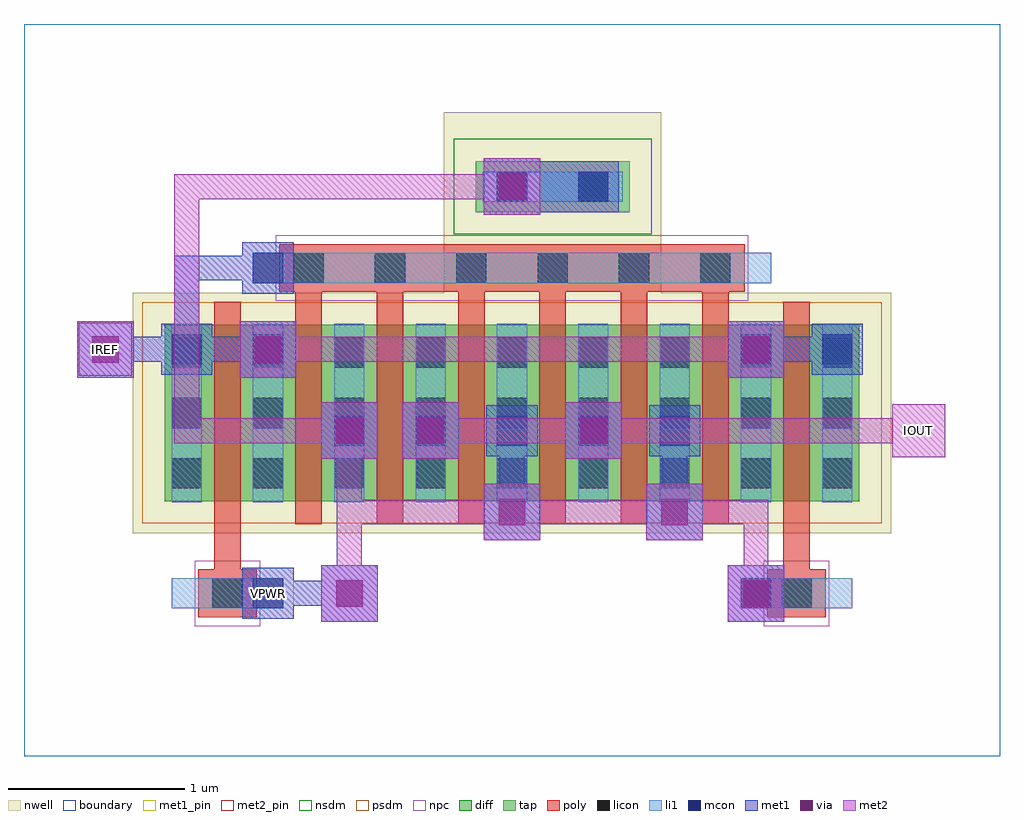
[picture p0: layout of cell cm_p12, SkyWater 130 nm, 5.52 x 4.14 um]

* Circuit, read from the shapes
.subckt cm_p12 IOUT IREF VPWR
XM1 IREF VPWR IREF VPWR sky130_fd_pr__pfet_01v8 w=1 l=0.15 m=2
XM2 VPWR IREF IREF VPWR sky130_fd_pr__pfet_01v8 w=1 l=0.15 m=2
XM3 IOUT IREF VPWR VPWR sky130_fd_pr__pfet_01v8 w=1 l=0.15 m=4
.ends

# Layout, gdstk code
import gdstk
lib = gdstk.Library(unit=1e-6, precision=1e-09)
def R(c, l, rs):  # rectangles x0, y0, x1, y1
    for r in rs: c.add(gdstk.rectangle(r[:2], r[2:], *l))
def A(c, l, x, y, w, h, nx, ny, dx, dy):  # array of equal rectangles
    R(c, l, [(x+i*dx, y+j*dy, x+i*dx+w, y+j*dy+h) for i in range(nx) for j in range(ny)])
nwell = (64, 20)
diff = (65, 20)
tap = (65, 44)
poly = (66, 20)
licon = (66, 44)
li1 = (67, 20)
mcon = (67, 44)
met1_pin = (68, 16)
met1 = (68, 20)
via = (68, 44)
met2_pin = (69, 16)
met2 = (69, 20)
nsdm = (93, 44)
psdm = (94, 20)
npc = (95, 20)
boundary = (235, 4)

cm_p12 = lib.new_cell('cm_p12')
R(cm_p12, nwell, [(0.615,1.26,4.905,2.62), (2.375,2.62,3.605,3.64)])
R(cm_p12, diff, [(0.795,1.44,4.725,2.44)])
R(cm_p12, tap, [(2.555,3.075,3.425,3.365)])
A(cm_p12, poly, 1.535, 1.31, 0.15, 1.45, 6, 1, 0.46, 0)
R(cm_p12, poly, [(0.985,0.785,1.315,1.055), (4.205,0.785,4.535,1.055), (1.075,0.92,1.225,2.57), (4.295,0.92,4.445,2.57), (1.445,2.625,4.075,2.895)])
A(cm_p12, licon, 0.835, 1.515, 0.17, 0.17, 9, 3, 0.46, 0.34)
A(cm_p12, licon, 1.525, 2.675, 0.17, 0.17, 6, 1, 0.46, 0)
R(cm_p12, licon, [(1.065,0.835,1.235,1.005), (4.285,0.835,4.455,1.005), (2.675,3.135,2.845,3.305), (3.135,3.135,3.305,3.305)])
A(cm_p12, li1, 0.835, 1.435, 0.17, 1.01, 9, 1, 0.46, 0)
R(cm_p12, li1, [(0.835,0.835,1.465,1.005), (4.055,0.835,4.685,1.005), (1.295,2.675,4.225,2.845), (2.595,3.135,3.385,3.305)])
A(cm_p12, mcon, 1.755, 1.755, 0.17, 0.17, 5, 1, 0.46, 0)
R(cm_p12, mcon, [(1.295,0.835,1.465,1.005), (4.055,0.835,4.225,1.005), (0.835,2.215,1.005,2.385), (1.295,2.215,1.465,2.385), (4.055,2.215,4.225,2.385), (4.515,2.215,4.685,2.385), (1.295,2.675,1.465,2.845), (2.675,3.135,2.845,3.305), (3.135,3.135,3.305,3.305)])
R(cm_p12, met1_pin, [(1.235,0.775,1.525,1.065)])
A(cm_p12, met1, 1.695, 1.695, 0.29, 0.29, 5, 1, 0.46, 0)
R(cm_p12, met1, [(1.68,0.76,2,1.08), (3.98,0.76,4.3,1.08), (1.235,0.775,1.525,1.065), (3.995,0.775,4.285,1.065), (1.31,0.85,1.91,0.99), (2.6,1.22,2.92,1.54), (3.52,1.22,3.84,1.54), (2.69,1.31,2.83,1.91), (3.61,1.31,3.75,1.91), (1.68,1.68,2,2), (2.14,1.68,2.46,2), (3.06,1.68,3.38,2), (0.3,2.14,0.62,2.46), (1.22,2.14,1.54,2.46), (3.98,2.14,4.3,2.46), (0.775,2.155,1.065,2.445), (1.235,2.155,1.525,2.445), (3.995,2.155,4.285,2.445), (4.455,2.155,4.745,2.445), (0.39,2.23,0.99,2.37), (0.85,2.23,0.99,2.83), (0.85,2.23,1.45,2.37), (4.07,2.23,4.67,2.37), (1.235,2.615,1.525,2.905), (0.85,2.69,1.45,2.83), (2.6,3.06,2.92,3.38), (2.615,3.075,3.365,3.365), (2.69,3.15,2.83,3.29)])
R(cm_p12, via, [(1.765,0.845,1.915,0.995), (4.065,0.845,4.215,0.995), (2.685,1.305,2.835,1.455), (3.605,1.305,3.755,1.455), (1.765,1.765,1.915,1.915), (2.225,1.765,2.375,1.915), (3.145,1.765,3.295,1.915), (0.385,2.225,0.535,2.375), (1.305,2.225,1.455,2.375), (4.065,2.225,4.215,2.375), (2.685,3.145,2.835,3.295)])
R(cm_p12, met2_pin, [(4.91,1.69,5.21,1.99), (0.31,2.15,0.61,2.45)])
R(cm_p12, met2, [(1.68,0.76,2,1.08), (3.98,0.76,4.3,1.08), (1.77,0.85,1.91,1.91), (4.07,0.85,4.21,1.45), (2.6,1.22,2.92,1.54), (3.52,1.22,3.84,1.54), (1.77,1.31,2.83,1.45), (2.69,1.31,4.21,1.45), (1.68,1.68,2,2), (2.14,1.68,2.46,2), (3.06,1.68,3.38,2), (4.91,1.69,5.21,1.99), (0.85,1.77,1.91,1.91), (0.85,1.77,0.99,3.29), (2.23,1.77,3.29,1.91), (3.15,1.77,5.13,1.91), (4.99,1.77,5.13,1.91), (0.3,2.14,0.62,2.46), (1.22,2.14,1.54,2.46), (3.98,2.14,4.3,2.46), (0.31,2.15,0.61,2.45), (0.39,2.23,0.53,2.37), (1.31,2.23,4.21,2.37), (2.6,3.06,2.92,3.38), (0.85,3.15,2.83,3.29)])
R(cm_p12, nsdm, [(2.43,2.95,3.55,3.49)])
R(cm_p12, psdm, [(0.67,1.315,4.85,2.565)])
R(cm_p12, npc, [(0.965,0.735,1.335,1.105), (4.185,0.735,4.555,1.105), (1.425,2.575,4.095,2.945)])
R(cm_p12, boundary, [(0,0,5.52,4.14)])
cm_p12.add(gdstk.Label('VPWR', (1.38,0.92), layer=68, texttype=5))
cm_p12.add(gdstk.Label('IREF', (0.46,2.3), layer=69, texttype=5))
cm_p12.add(gdstk.Label('IOUT', (5.06,1.84), layer=69, texttype=5))
cm_p12.add(gdstk.Label('VPWR', (1.38,0.92), layer=68, texttype=16))
cm_p12.add(gdstk.Label('IREF', (0.46,2.3), layer=69, texttype=16))
cm_p12.add(gdstk.Label('IOUT', (5.06,1.84), layer=69, texttype=16))

lib.write_gds('cm_p12.gds')
